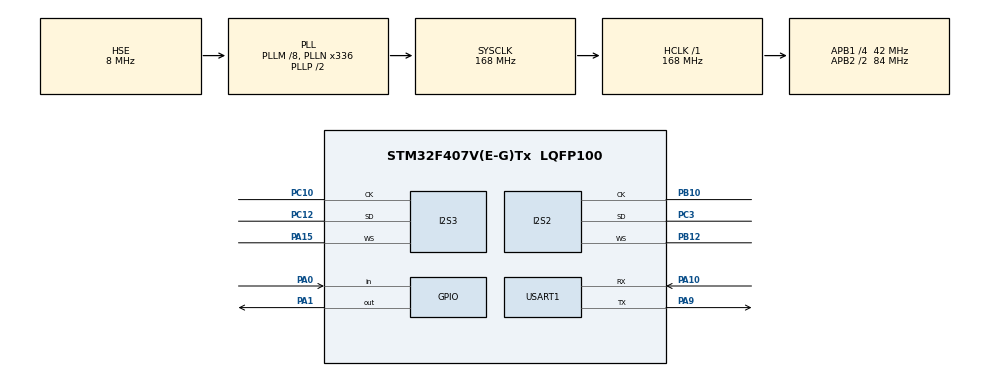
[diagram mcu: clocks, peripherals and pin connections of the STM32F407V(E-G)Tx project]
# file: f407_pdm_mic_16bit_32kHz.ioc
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Dma.Request0=SPI3_TX
Dma.Request1=SPI2_RX
Dma.SPI2_RX.1.Direction=DMA_PERIPH_TO_MEMORY
Dma.SPI2_RX.1.FIFOMode=DMA_FIFOMODE_DISABLE
Dma.SPI2_RX.1.Instance=DMA1_Stream3
Dma.SPI2_RX.1.MemDataAlignment=DMA_MDATAALIGN_HALFWORD
Dma.SPI2_RX.1.MemInc=DMA_MINC_ENABLE
Dma.SPI2_RX.1.Mode=DMA_CIRCULAR
Dma.SPI2_RX.1.PeriphDataAlignment=DMA_PDATAALIGN_HALFWORD
Dma.SPI2_RX.1.PeriphInc=DMA_PINC_DISABLE
Dma.SPI2_RX.1.Priority=DMA_PRIORITY_LOW
Dma.SPI3_TX.0.Direction=DMA_MEMORY_TO_PERIPH
Dma.SPI3_TX.0.FIFOMode=DMA_FIFOMODE_DISABLE
Dma.SPI3_TX.0.Instance=DMA1_Stream5
Dma.SPI3_TX.0.MemDataAlignment=DMA_MDATAALIGN_HALFWORD
Dma.SPI3_TX.0.MemInc=DMA_MINC_ENABLE
Dma.SPI3_TX.0.Mode=DMA_CIRCULAR
Dma.SPI3_TX.0.PeriphDataAlignment=DMA_PDATAALIGN_HALFWORD
Dma.SPI3_TX.0.PeriphInc=DMA_PINC_DISABLE
Dma.SPI3_TX.0.Priority=DMA_PRIORITY_LOW
I2S2.AudioFreq=I2S_AUDIOFREQ_32K
I2S2.DataFormat=I2S_DATAFORMAT_16B
I2S2.ErrorAudioFreq=-0.26 %
I2S2.FullDuplexMode=I2S_FULLDUPLEXMODE_DISABLE
I2S2.Instance=SPI$Index
I2S2.Mode=I2S_MODE_SLAVE_RX
I2S2.RealAudioFreq=31.914 KHz
I2S2.VirtualMode=I2S_MODE_SLAVE
I2S3.AudioFreq=I2S_AUDIOFREQ_32K
I2S3.DataFormat=I2S_DATAFORMAT_16B
I2S3.ErrorAudioFreq=-0.26 %
I2S3.FullDuplexMode=I2S_FULLDUPLEXMODE_DISABLE
I2S3.Instance=SPI$Index
I2S3.RealAudioFreq=31.914 KHz
I2S3.VirtualMode=I2S_MODE_MASTER
Mcu.Family=STM32F4
Mcu.Name=STM32F407V(E-G)Tx
Mcu.Package=LQFP100
NVIC.DMA1_Stream3_IRQn=true\:0\:0\:false\:false\:true\:false\:true
NVIC.DMA1_Stream5_IRQn=true\:0\:0\:false\:false\:true\:false\:true
NVIC.PriorityGroup=NVIC_PRIORITYGROUP_4
PA0-WKUP.GPIO_PuPd=GPIO_PULLDOWN
PA0-WKUP.Signal=GPIO_Input
PA1.PinState=GPIO_PIN_SET
PA1.Signal=GPIO_Output
PA10.Mode=Asynchronous
PA10.Signal=USART1_RX
PA13.Mode=Serial_Wire
PA13.Signal=SYS_JTMS-SWDIO
PA14.Mode=Serial_Wire
PA14.Signal=SYS_JTCK-SWCLK
PA15.Mode=Half_Duplex_Master
PA15.Signal=I2S3_WS
PA9.Mode=Asynchronous
PA9.Signal=USART1_TX
PB10.Mode=Half_Duplex_Slave
PB10.Signal=I2S2_CK
PB12.Mode=Half_Duplex_Slave
PB12.Signal=I2S2_WS
PC10.Mode=Half_Duplex_Master
PC10.Signal=I2S3_CK
PC12.Mode=Half_Duplex_Master
PC12.Signal=I2S3_SD
PC3.Mode=Half_Duplex_Slave
PC3.Signal=I2S2_SD
PDM2PCM.CHANNEL1_bit_order=PDM_FILTER_BIT_ORDER_MSB
PDM2PCM.CHANNEL1_decimation_factor=PDM_FILTER_DEC_FACTOR_32
PDM2PCM.CHANNEL1_in_ptr_channels=1
PDM2PCM.CHANNEL1_out_ptr_channels=1
PDM2PCM.CHANNEL1_output_samples_number=32
PH0-OSC_IN.Mode=HSE-External-Oscillator
PH0-OSC_IN.Signal=RCC_OSC_IN
PH1-OSC_OUT.Mode=HSE-External-Oscillator
PH1-OSC_OUT.Signal=RCC_OSC_OUT
ProjectManager.HeapSize=0x200
ProjectManager.StackSize=0x400
ProjectManager.TargetToolchain=STM32CubeIDE
RCC.48MHZClocksFreq_Value=84000000
RCC.AHBFreq_Value=168000000
RCC.APB1CLKDivider=RCC_HCLK_DIV4
RCC.APB1Freq_Value=42000000
RCC.APB1TimFreq_Value=84000000
RCC.APB2CLKDivider=RCC_HCLK_DIV2
RCC.APB2Freq_Value=84000000
RCC.APB2TimFreq_Value=168000000
RCC.CortexFreq_Value=168000000
RCC.HCLKFreq_Value=168000000
RCC.HSE_VALUE=8000000
RCC.HSI_VALUE=16000000
RCC.LSE_VALUE=32768
RCC.PLLM=8
RCC.PLLN=336
RCC.PLLSourceVirtual=RCC_PLLSOURCE_HSE
RCC.SYSCLKFreq_VALUE=168000000
RCC.SYSCLKSource=RCC_SYSCLKSOURCE_PLLCLK
RCC.VCOOutputFreq_Value=336000000
USART1.VirtualMode=VM_ASYNC
VP_CRC_VS_CRC.Mode=CRC_Activate
VP_PDM2PCM_VS_PDM2PCM.Mode=PDM2PCM_Channel
board=custom

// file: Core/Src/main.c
/* USER CODE BEGIN Header */
// DevEBox STM32F407VGT6 dev board
// Demonstrates reception of PDM data from an ST MP45DT02 PDM microphone on I2S2 port
// I2S2 is configured as timing slave to I2S3 ( BCK and WS taken from I2S3 )
// I2S3 configured as master transmit 16bit in 16bit frame, Fs = 32khz.
// So PDM clock frequency = BCK = 32*32 = 1.024
// Incoming DMA stream PDM data is converted to PCM using the
// PDM2PCM library. The PCM data is transmitted using DMA to I2S3 to a MAX98357A I2S
// power amplifier and speaker. A FIFO is used between the filter PCM output and
// the transmit as I2S2 and I2S3 are enabled at different times.
/* USER CODE END Header */

#include "main.h"
#include "pdm2pcm.h"

CRC_HandleTypeDef hcrc;

I2S_HandleTypeDef hi2s2;
I2S_HandleTypeDef hi2s3;
DMA_HandleTypeDef hdma_spi2_rx;
DMA_HandleTypeDef hdma_spi3_tx;

UART_HandleTypeDef huart1;

void SystemClock_Config(void);
static void MX_GPIO_Init(void);
static void MX_DMA_Init(void);
static void MX_CRC_Init(void);
static void MX_I2S2_Init(void);
static void MX_I2S3_Init(void);
static void MX_USART1_UART_Init(void);

/* USER CODE BEGIN 0 */

#define OUT_FS_KHZ  			32

// I2S3 configured for Fs = 32khz, 16bit data in 16bit Frame => BCK = 32*32 = 1.024MHz
// Note : 1MHz is the minimum clock for the PDM microphone. So we won't be
// able to use a lower Fs
#define DECIMATION_FACTOR		32

#define PDM2PCM_OUT_SAMPLES 		OUT_FS_KHZ
#define PDM2PCM_IN_SAMPLES_BYTES	(OUT_FS_KHZ*DECIMATION_FACTOR/8)
#define PDM2PCM_IN_SAMPLES_HWORDS   (PDM2PCM_IN_SAMPLES_BYTES/2)

#define RXBUF_NSAMPLES 			(PDM2PCM_IN_SAMPLES_HWORDS * 2)
#define TXBUF_NSAMPLES 			(PDM2PCM_OUT_SAMPLES*2*2)

uint16_t PDMRxBuf[RXBUF_NSAMPLES] = {0};
// PDM2PCM library generates PDM2PCM_OUT_SAMPLES for each call
uint16_t PCMBuf[PDM2PCM_OUT_SAMPLES];
uint16_t I2STxBuf[TXBUF_NSAMPLES] = {0};

// dma completion state
enum DmaState {DMA_IN_PROGRESS, DMA_HALF_COMPLETE, DMA_COMPLETE};
enum DmaState RxState = DMA_IN_PROGRESS;
enum DmaState TxState = DMA_IN_PROGRESS;

// 256 entry FIFO and uint8_t pointers allow automatic roll-over to 0
uint16_t FIFOBuf[256];
uint8_t FIFOwPtr = 0;
uint8_t FIFOrPtr = 0;

// flag to start reading out from the FIFO when enough data is buffered
int FIFOReadEnabled = 0;

void FifoWrite(uint16_t data) {
	FIFOBuf[FIFOwPtr] = data;
	FIFOwPtr++;
	}

uint16_t FifoRead() {
	uint16_t val = FIFOBuf[FIFOrPtr];
	FIFOrPtr++;
	return val;
	}

/* USER CODE END 0 */

int main(void)
{

  /* MCU Configuration--------------------------------------------------------*/

  /* Reset of all peripherals, Initializes the Flash interface and the Systick. */
  HAL_Init();

  /* Configure the system clock */
  SystemClock_Config();

  /* Initialize all configured peripherals */
  MX_GPIO_Init();
  MX_DMA_Init();
  MX_CRC_Init();
  MX_I2S2_Init();
  MX_I2S3_Init();
  MX_PDM2PCM_Init();
  MX_USART1_UART_Init();
  /* USER CODE BEGIN 2 */

  // The I2S peripherals internally transfer data in 16bit chunks, so the rx and tx buffers need
  // to be half-word buffers.
  // we've configured I2S2 for 16bit data in 16bit frame, HAL API requires us to request the
  // number of half-words
  HAL_I2S_Transmit_DMA(&hi2s3, I2STxBuf, TXBUF_NSAMPLES);

  // I2S2 is a timing slave (BCK and WS from IS3) so needs to start up after I2S3
  HAL_I2S_Receive_DMA(&hi2s2, PDMRxBuf, RXBUF_NSAMPLES);

  /* USER CODE END 2 */

  /* Infinite loop */
  while (1)
  {

    /* USER CODE BEGIN 3 */
	    if (RxState == DMA_HALF_COMPLETE) {
	    	PDM_Filter(PDMRxBuf, PCMBuf, &PDM1_filter_handler);
	    	for (int i = 0; i < PDM2PCM_OUT_SAMPLES; i++) {
	    		FifoWrite(PCMBuf[i]);
	    		}
	    	// enough of a buffer to start output streaming
	    	if ((FIFOwPtr - FIFOrPtr) > 128) {
	    		FIFOReadEnabled = 1;
	    		}
	    	RxState = DMA_IN_PROGRESS;
	    	}

	    if (RxState == DMA_COMPLETE) {
	    	PDM_Filter(&PDMRxBuf[RXBUF_NSAMPLES/2], PCMBuf, &PDM1_filter_handler);
	    	for (int i = 0; i < PDM2PCM_OUT_SAMPLES; i++) {
	    		FifoWrite(PCMBuf[i]);
	    		}
	    	RxState = DMA_IN_PROGRESS;
	    	}

	    if (TxState == DMA_HALF_COMPLETE) {
	    	if (FIFOReadEnabled == 1) {
				for (int i = 0; i < PDM2PCM_OUT_SAMPLES; i++) {
					uint16_t data = FifoRead();
					I2STxBuf[2*i] = data; // L channel (16 bits in 16bit frame)
					I2STxBuf[2*i + 1] = data; //  set R channel to L channel
					}
	    		}
	    	TxState = DMA_IN_PROGRESS;
	    	}

	    if (TxState == DMA_COMPLETE) {
	    	if (FIFOReadEnabled == 1) {
	    		uint16_t* pBuf = &I2STxBuf[TXBUF_NSAMPLES/2];
				for (int i = 0; i < PDM2PCM_OUT_SAMPLES; i++) {
					uint16_t data = FifoRead();
					pBuf[2*i] = data; // L channel (16 bits in 16bit frame)
					pBuf[2*i + 1] = data; //  set R channel to L channel
				 	}
				}
	    	TxState = DMA_IN_PROGRESS;
	    	}
	  }

  /* USER CODE END 3 */
}

void SystemClock_Config(void)
{
  RCC_OscInitTypeDef RCC_OscInitStruct = {0};
  RCC_ClkInitTypeDef RCC_ClkInitStruct = {0};
  RCC_PeriphCLKInitTypeDef PeriphClkInitStruct = {0};

  /** Configure the main internal regulator output voltage
  */
  __HAL_RCC_PWR_CLK_ENABLE();
  __HAL_PWR_VOLTAGESCALING_CONFIG(PWR_REGULATOR_VOLTAGE_SCALE1);
  /** Initializes the CPU, AHB and APB busses clocks
  */
  RCC_OscInitStruct.OscillatorType = RCC_OSCILLATORTYPE_HSE;
  RCC_OscInitStruct.HSEState = RCC_HSE_ON;
  RCC_OscInitStruct.PLL.PLLState = RCC_PLL_ON;
  RCC_OscInitStruct.PLL.PLLSource = RCC_PLLSOURCE_HSE;
  RCC_OscInitStruct.PLL.PLLM = 8;
  RCC_OscInitStruct.PLL.PLLN = 336;
  RCC_OscInitStruct.PLL.PLLP = RCC_PLLP_DIV2;
  RCC_OscInitStruct.PLL.PLLQ = 4;
  if (HAL_RCC_OscConfig(&RCC_OscInitStruct) != HAL_OK)
  {
    Error_Handler();
  }
  /** Initializes the CPU, AHB and APB busses clocks
  */
  RCC_ClkInitStruct.ClockType = RCC_CLOCKTYPE_HCLK|RCC_CLOCKTYPE_SYSCLK
                              |RCC_CLOCKTYPE_PCLK1|RCC_CLOCKTYPE_PCLK2;
  RCC_ClkInitStruct.SYSCLKSource = RCC_SYSCLKSOURCE_PLLCLK;
  RCC_ClkInitStruct.AHBCLKDivider = RCC_SYSCLK_DIV1;
  RCC_ClkInitStruct.APB1CLKDivider = RCC_HCLK_DIV4;
  RCC_ClkInitStruct.APB2CLKDivider = RCC_HCLK_DIV2;

  if (HAL_RCC_ClockConfig(&RCC_ClkInitStruct, FLASH_LATENCY_5) != HAL_OK)
  {
    Error_Handler();
  }
  PeriphClkInitStruct.PeriphClockSelection = RCC_PERIPHCLK_I2S;
  PeriphClkInitStruct.PLLI2S.PLLI2SN = 192;
  PeriphClkInitStruct.PLLI2S.PLLI2SR = 2;
  if (HAL_RCCEx_PeriphCLKConfig(&PeriphClkInitStruct) != HAL_OK)
  {
    Error_Handler();
  }
}

static void MX_CRC_Init(void)
{

  hcrc.Instance = CRC;
  if (HAL_CRC_Init(&hcrc) != HAL_OK)
  {
    Error_Handler();
  }
  __HAL_CRC_DR_RESET(&hcrc);

}

static void MX_I2S2_Init(void)
{

  hi2s2.Instance = SPI2;
  hi2s2.Init.Mode = I2S_MODE_SLAVE_RX;
  hi2s2.Init.Standard = I2S_STANDARD_PHILIPS;
  hi2s2.Init.DataFormat = I2S_DATAFORMAT_16B;
  hi2s2.Init.MCLKOutput = I2S_MCLKOUTPUT_DISABLE;
  hi2s2.Init.AudioFreq = I2S_AUDIOFREQ_32K;
  hi2s2.Init.CPOL = I2S_CPOL_LOW;
  hi2s2.Init.ClockSource = I2S_CLOCK_PLL;
  hi2s2.Init.FullDuplexMode = I2S_FULLDUPLEXMODE_DISABLE;
  if (HAL_I2S_Init(&hi2s2) != HAL_OK)
  {
    Error_Handler();
  }

}

static void MX_I2S3_Init(void)
{

  hi2s3.Instance = SPI3;
  hi2s3.Init.Mode = I2S_MODE_MASTER_TX;
  hi2s3.Init.Standard = I2S_STANDARD_PHILIPS;
  hi2s3.Init.DataFormat = I2S_DATAFORMAT_16B;
  hi2s3.Init.MCLKOutput = I2S_MCLKOUTPUT_DISABLE;
  hi2s3.Init.AudioFreq = I2S_AUDIOFREQ_32K;
  hi2s3.Init.CPOL = I2S_CPOL_LOW;
  hi2s3.Init.ClockSource = I2S_CLOCK_PLL;
  hi2s3.Init.FullDuplexMode = I2S_FULLDUPLEXMODE_DISABLE;
  if (HAL_I2S_Init(&hi2s3) != HAL_OK)
  {
    Error_Handler();
  }

}

static void MX_USART1_UART_Init(void)
{

  huart1.Instance = USART1;
  huart1.Init.BaudRate = 115200;
  huart1.Init.WordLength = UART_WORDLENGTH_8B;
  huart1.Init.StopBits = UART_STOPBITS_1;
  huart1.Init.Parity = UART_PARITY_NONE;
  huart1.Init.Mode = UART_MODE_TX_RX;
  huart1.Init.HwFlowCtl = UART_HWCONTROL_NONE;
  huart1.Init.OverSampling = UART_OVERSAMPLING_16;
  if (HAL_UART_Init(&huart1) != HAL_OK)
  {
    Error_Handler();
  }

}

static void MX_DMA_Init(void)
{

  /* DMA controller clock enable */
  __HAL_RCC_DMA1_CLK_ENABLE();

  /* DMA interrupt init */
  /* DMA1_Stream3_IRQn interrupt configuration */
  HAL_NVIC_SetPriority(DMA1_Stream3_IRQn, 0, 0);
  HAL_NVIC_EnableIRQ(DMA1_Stream3_IRQn);
  /* DMA1_Stream5_IRQn interrupt configuration */
  HAL_NVIC_SetPriority(DMA1_Stream5_IRQn, 0, 0);
  HAL_NVIC_EnableIRQ(DMA1_Stream5_IRQn);

}

static void MX_GPIO_Init(void)
{
  GPIO_InitTypeDef GPIO_InitStruct = {0};

  /* GPIO Ports Clock Enable */
  __HAL_RCC_GPIOH_CLK_ENABLE();
  __HAL_RCC_GPIOC_CLK_ENABLE();
  __HAL_RCC_GPIOA_CLK_ENABLE();
  __HAL_RCC_GPIOB_CLK_ENABLE();

  /*Configure GPIO pin Output Level */
  HAL_GPIO_WritePin(GPIOA, GPIO_PIN_1, GPIO_PIN_SET);

  /*Configure GPIO pin : PA0 */
  GPIO_InitStruct.Pin = GPIO_PIN_0;
  GPIO_InitStruct.Mode = GPIO_MODE_INPUT;
  GPIO_InitStruct.Pull = GPIO_PULLDOWN;
  HAL_GPIO_Init(GPIOA, &GPIO_InitStruct);

  /*Configure GPIO pin : PA1 */
  GPIO_InitStruct.Pin = GPIO_PIN_1;
  GPIO_InitStruct.Mode = GPIO_MODE_OUTPUT_PP;
  GPIO_InitStruct.Pull = GPIO_NOPULL;
  GPIO_InitStruct.Speed = GPIO_SPEED_FREQ_LOW;
  HAL_GPIO_Init(GPIOA, &GPIO_InitStruct);

}

/* USER CODE BEGIN 4 */
void HAL_I2S_TxHalfCpltCallback (I2S_HandleTypeDef *hi2s) {
	TxState = DMA_HALF_COMPLETE;
}

void HAL_I2S_TxCpltCallback (I2S_HandleTypeDef *hi2s) {
	TxState = DMA_COMPLETE;
}

void HAL_I2S_RxHalfCpltCallback (I2S_HandleTypeDef *hi2s) {
	RxState = DMA_HALF_COMPLETE;
}

void HAL_I2S_RxCpltCallback (I2S_HandleTypeDef *hi2s) {
	RxState = DMA_COMPLETE;
}

/* USER CODE END 4 */

void Error_Handler(void)
{
  /* USER CODE BEGIN Error_Handler_Debug */
  /* User can add his own implementation to report the HAL error return state */
	int counter = 0;
	while (1) {
		HAL_GPIO_TogglePin(GPIOA, GPIO_PIN_1);
		while (counter < 0x3FFFF) {counter++;}
		counter = 0;
		}
  /* USER CODE END Error_Handler_Debug */
}

/************************ (C) COPYRIGHT STMicroelectronics *****END OF FILE****/
